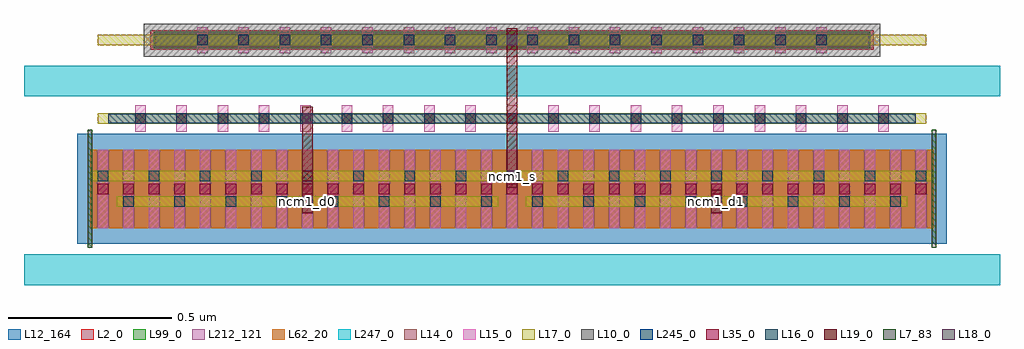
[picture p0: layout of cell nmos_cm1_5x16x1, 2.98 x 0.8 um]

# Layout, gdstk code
import gdstk
lib = gdstk.Library(unit=1e-6, precision=1e-12)
def R(c, l, rs):  # rectangles x0, y0, x1, y1
    for r in rs: c.add(gdstk.rectangle(r[:2], r[2:], *l))
def A(c, l, x, y, w, h, nx, ny, dx, dy):  # array of equal rectangles
    R(c, l, [(x+i*dx, y+j*dy, x+i*dx+w, y+j*dy+h) for i in range(nx) for j in range(ny)])
L2_0 = (2, 0)
L7_83 = (7, 83)
L10_0 = (10, 0)
L12_164 = (12, 164)
L14_0 = (14, 0)
L15_0 = (15, 0)
L16_0 = (16, 0)
L17_0 = (17, 0)
L18_0 = (18, 0)
L19_0 = (19, 0)
L35_0 = (35, 0)
L62_20 = (62, 20)
L99_0 = (99, 0)
L212_121 = (212, 121)
L245_0 = (245, 0)
L247_0 = (247, 0)

nmos_cm1_5x16x1 = lib.new_cell('nmos_cm1_5x16x1')
R(nmos_cm1_5x16x1, L2_0, [(0,0,2.574,0.24), (0.1838,0.544,2.3902,0.604)])
R(nmos_cm1_5x16x1, L7_83, [(-0.007,-0.06,0.007,0.3), (2.567,-0.06,2.581,0.3)])
R(nmos_cm1_5x16x1, L10_0, [(0.1638,0.524,2.4102,0.624)])
R(nmos_cm1_5x16x1, L12_164, [(-0.039,-0.048,2.613,0.288)])
A(nmos_cm1_5x16x1, L14_0, 0.022, 0, 0.034, 0.24, 33, 1, 0.078, 0)
R(nmos_cm1_5x16x1, L14_0, [(0.1988,0.554,2.3752,0.594)])
A(nmos_cm1_5x16x1, L15_0, 0.023, 0, 0.032, 0.24, 33, 1, 0.078, 0)
A(nmos_cm1_5x16x1, L15_0, 0.137, 0.295, 0.032, 0.08, 19, 1, 0.126, 0)
A(nmos_cm1_5x16x1, L15_0, 0.326, 0.534, 0.032, 0.08, 16, 1, 0.126, 0)
A(nmos_cm1_5x16x1, L16_0, 0.101, 0.065, 0.032, 0.032, 16, 1, 0.156, 0)
A(nmos_cm1_5x16x1, L16_0, 0.023, 0.143, 0.032, 0.032, 17, 1, 0.156, 0)
A(nmos_cm1_5x16x1, L16_0, 0.137, 0.319, 0.032, 0.032, 19, 1, 0.126, 0)
A(nmos_cm1_5x16x1, L16_0, 0.326, 0.558, 0.032, 0.032, 16, 1, 0.126, 0)
R(nmos_cm1_5x16x1, L17_0, [(0.081,0.065,1.245,0.097), (1.329,0.065,2.493,0.097), (0,0.143,2.574,0.175), (0.023,0.319,2.551,0.351), (0.023,0.558,2.551,0.59)])
R(nmos_cm1_5x16x1, L18_0, [(0.647,0.065,0.679,0.097), (1.895,0.065,1.927,0.097), (1.271,0.143,1.303,0.175), (0.647,0.319,0.679,0.351), (1.271,0.558,1.303,0.59)])
R(nmos_cm1_5x16x1, L19_0, [(0.647,0.045,0.679,0.371), (1.895,0.045,1.927,0.117), (1.271,0.123,1.303,0.61)])
A(nmos_cm1_5x16x1, L35_0, 0.023, 0.104, 0.032, 0.032, 33, 1, 0.078, 0)
A(nmos_cm1_5x16x1, L35_0, 0.137, 0.319, 0.032, 0.032, 19, 1, 0.126, 0)
A(nmos_cm1_5x16x1, L35_0, 0.326, 0.558, 0.032, 0.032, 16, 1, 0.126, 0)
R(nmos_cm1_5x16x1, L62_20, [(0,0,2.574,0.24)])
R(nmos_cm1_5x16x1, L99_0, [(0,0,2.574,0.24), (0.1938,0.549,2.3802,0.599)])
R(nmos_cm1_5x16x1, L212_121, [(0,0,2.574,0.24)])
R(nmos_cm1_5x16x1, L245_0, [(0.055,0.32,2.519,0.35)])
R(nmos_cm1_5x16x1, L247_0, [(-0.202,-0.174,2.776,-0.08), (-0.202,0.402,2.776,0.496)])
nmos_cm1_5x16x1.add(gdstk.Label('ncm1_s', (1.287,0.159), layer=16, texttype=20))
nmos_cm1_5x16x1.add(gdstk.Label('ncm1_d1', (1.911,0.081), layer=16, texttype=20))
nmos_cm1_5x16x1.add(gdstk.Label('ncm1_d0', (0.663,0.081), layer=16, texttype=20))

lib.write_gds('nmos_cm1_5x16x1.gds')
